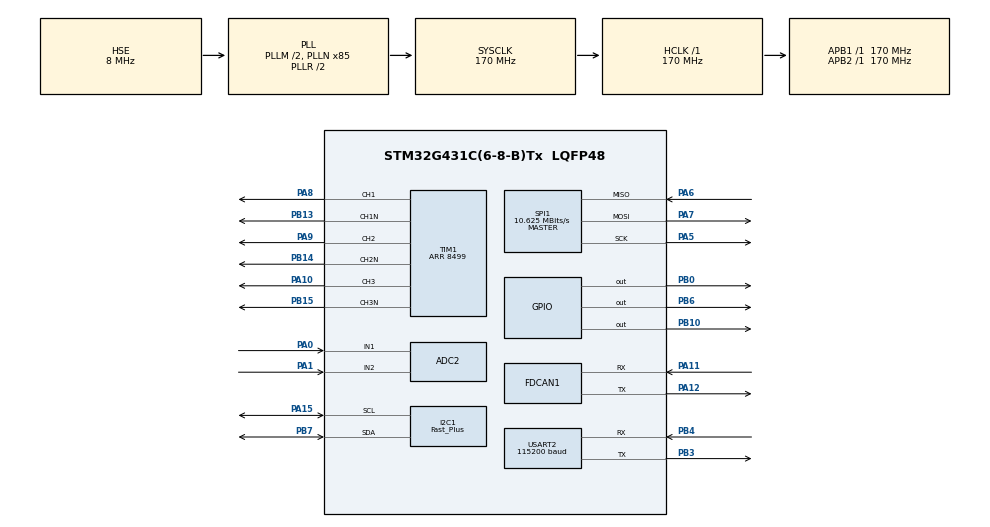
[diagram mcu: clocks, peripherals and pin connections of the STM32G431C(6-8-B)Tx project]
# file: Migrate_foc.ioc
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ADC2.Channel-0\#ChannelRegularConversion=ADC_CHANNEL_1
ADC2.EnableInjectedConversion=ENABLE
ADC2.ExternalTrigInjecConv=ADC_EXTERNALTRIGINJEC_T1_CC4
ADC2.ExternalTrigInjecConvEdge=ADC_EXTERNALTRIGINJECCONV_EDGE_FALLING
ADC2.InjNumberOfConversion=2
ADC2.InjectedChannel-1\#ChannelInjectedConversion=ADC_CHANNEL_1
ADC2.InjectedChannel-2\#ChannelInjectedConversion=ADC_CHANNEL_2
ADC2.InjectedOffsetNumber-1\#ChannelInjectedConversion=ADC_OFFSET_NONE
ADC2.InjectedOffsetNumber-2\#ChannelInjectedConversion=ADC_OFFSET_NONE
ADC2.InjectedRank-1\#ChannelInjectedConversion=1
ADC2.InjectedRank-2\#ChannelInjectedConversion=2
ADC2.InjectedSamplingTime-1\#ChannelInjectedConversion=ADC_SAMPLETIME_12CYCLES_5
ADC2.InjectedSamplingTime-2\#ChannelInjectedConversion=ADC_SAMPLETIME_12CYCLES_5
ADC2.NbrOfConversionFlag=1
ADC2.OffsetNumber-0\#ChannelRegularConversion=ADC_OFFSET_NONE
ADC2.Rank-0\#ChannelRegularConversion=1
ADC2.Rank1_Channel=ADC_CHANNEL_1
ADC2.Rank2_Channel=ADC_CHANNEL_2
ADC2.SamplingTime-0\#ChannelRegularConversion=ADC_SAMPLETIME_2CYCLES_5
Dma.Request0=USART2_RX
Dma.Request1=USART2_TX
Dma.USART2_RX.0.Direction=DMA_PERIPH_TO_MEMORY
Dma.USART2_RX.0.EventEnable=DISABLE
Dma.USART2_RX.0.Instance=DMA1_Channel1
Dma.USART2_RX.0.MemDataAlignment=DMA_MDATAALIGN_BYTE
Dma.USART2_RX.0.MemInc=DMA_MINC_ENABLE
Dma.USART2_RX.0.Mode=DMA_NORMAL
Dma.USART2_RX.0.PeriphDataAlignment=DMA_PDATAALIGN_BYTE
Dma.USART2_RX.0.PeriphInc=DMA_PINC_DISABLE
Dma.USART2_RX.0.Polarity=HAL_DMAMUX_REQ_GEN_RISING
Dma.USART2_RX.0.Priority=DMA_PRIORITY_MEDIUM
Dma.USART2_RX.0.RequestNumber=1
Dma.USART2_RX.0.SignalID=NONE
Dma.USART2_RX.0.SyncEnable=DISABLE
Dma.USART2_RX.0.SyncPolarity=HAL_DMAMUX_SYNC_NO_EVENT
Dma.USART2_RX.0.SyncRequestNumber=1
Dma.USART2_RX.0.SyncSignalID=NONE
Dma.USART2_TX.1.Direction=DMA_MEMORY_TO_PERIPH
Dma.USART2_TX.1.EventEnable=DISABLE
Dma.USART2_TX.1.Instance=DMA1_Channel2
Dma.USART2_TX.1.MemDataAlignment=DMA_MDATAALIGN_BYTE
Dma.USART2_TX.1.MemInc=DMA_MINC_ENABLE
Dma.USART2_TX.1.Mode=DMA_NORMAL
Dma.USART2_TX.1.PeriphDataAlignment=DMA_PDATAALIGN_BYTE
Dma.USART2_TX.1.PeriphInc=DMA_PINC_DISABLE
Dma.USART2_TX.1.Polarity=HAL_DMAMUX_REQ_GEN_RISING
Dma.USART2_TX.1.Priority=DMA_PRIORITY_LOW
Dma.USART2_TX.1.RequestNumber=1
Dma.USART2_TX.1.SignalID=NONE
Dma.USART2_TX.1.SyncEnable=DISABLE
Dma.USART2_TX.1.SyncPolarity=HAL_DMAMUX_SYNC_NO_EVENT
Dma.USART2_TX.1.SyncRequestNumber=1
Dma.USART2_TX.1.SyncSignalID=NONE
FDCAN1.CalculateBaudRateNominal=3541666
FDCAN1.CalculateTimeBitNominal=282
FDCAN1.CalculateTimeQuantumNominal=94.11764705882354
I2C1.I2C_Speed_Mode=I2C_Fast_Plus
I2C1.Timing=0x4052060F
Mcu.Family=STM32G4
Mcu.Name=STM32G431C(6-8-B)Tx
Mcu.Package=LQFP48
NVIC.DMA1_Channel1_IRQn=true\:0\:0\:false\:false\:true\:false\:true\:true
NVIC.DMA1_Channel2_IRQn=true\:0\:0\:false\:false\:true\:false\:true\:true
NVIC.PriorityGroup=NVIC_PRIORITYGROUP_4
NVIC.USART2_IRQn=true\:0\:0\:false\:false\:true\:true\:true\:true
PA0.Mode=IN1-Single-Ended
PA0.Signal=ADC2_IN1
PA1.Mode=IN2-Single-Ended
PA1.Signal=ADC2_IN2
PA10.Signal=S_TIM1_CH3
PA11.Mode=FDCAN_Activate
PA11.Signal=FDCAN1_RX
PA12.Mode=FDCAN_Activate
PA12.Signal=FDCAN1_TX
PA13.Mode=Serial_Wire
PA13.Signal=SYS_JTMS-SWDIO
PA14.Mode=Serial_Wire
PA14.Signal=SYS_JTCK-SWCLK
PA15.Mode=I2C
PA15.Signal=I2C1_SCL
PA5.Mode=Full_Duplex_Master
PA5.Signal=SPI1_SCK
PA6.Mode=Full_Duplex_Master
PA6.Signal=SPI1_MISO
PA7.Mode=Full_Duplex_Master
PA7.Signal=SPI1_MOSI
PA8.Signal=S_TIM1_CH1
PA9.Signal=S_TIM1_CH2
PB0.GPIO_Speed=GPIO_SPEED_FREQ_VERY_HIGH
PB0.PinState=GPIO_PIN_SET
PB0.Signal=GPIO_Output
PB10.GPIO_Speed=GPIO_SPEED_FREQ_VERY_HIGH
PB10.PinState=GPIO_PIN_SET
PB10.Signal=GPIO_Output
PB13.Mode=PWM Generation1 CH1 CH1N
PB13.Signal=TIM1_CH1N
PB14.Mode=PWM Generation2 CH2 CH2N
PB14.Signal=TIM1_CH2N
PB15.Mode=PWM Generation3 CH3 CH3N
PB15.Signal=TIM1_CH3N
PB3.Mode=Asynchronous
PB3.Signal=USART2_TX
PB4.Mode=Asynchronous
PB4.Signal=USART2_RX
PB6.GPIO_Speed=GPIO_SPEED_FREQ_VERY_HIGH
PB6.PinState=GPIO_PIN_SET
PB6.Signal=GPIO_Output
PB7.Mode=I2C
PB7.Signal=I2C1_SDA
PF0-OSC_IN.Mode=HSE-External-Oscillator
PF0-OSC_IN.Signal=RCC_OSC_IN
PF1-OSC_OUT.Mode=HSE-External-Oscillator
PF1-OSC_OUT.Signal=RCC_OSC_OUT
ProjectManager.HeapSize=0x200
ProjectManager.StackSize=0x400
ProjectManager.TargetToolchain=MDK-ARM V5.32
RCC.ADC12Freq_Value=170000000
RCC.AHBFreq_Value=170000000
RCC.APB1Freq_Value=170000000
RCC.APB1TimFreq_Value=170000000
RCC.APB2Freq_Value=170000000
RCC.APB2TimFreq_Value=170000000
RCC.CortexFreq_Value=170000000
RCC.EXTERNAL_CLOCK_VALUE=12288000
RCC.HCLKFreq_Value=170000000
RCC.HSE_VALUE=8000000
RCC.HSI48_VALUE=48000000
RCC.HSI_VALUE=16000000
RCC.LSE_VALUE=32768
RCC.PLLM=RCC_PLLM_DIV2
RCC.PLLN=85
RCC.PLLSourceVirtual=RCC_PLLSOURCE_HSE
RCC.SYSCLKFreq_VALUE=170000000
RCC.SYSCLKSource=RCC_SYSCLKSOURCE_PLLCLK
RCC.USBFreq_Value=170000000
RCC.VCOOutputFreq_Value=340000000
SH.S_TIM1_CH1.0=TIM1_CH1,PWM Generation1 CH1 CH1N
SH.S_TIM1_CH2.0=TIM1_CH2,PWM Generation2 CH2 CH2N
SH.S_TIM1_CH3.0=TIM1_CH3,PWM Generation3 CH3 CH3N
SPI1.BaudRatePrescaler=SPI_BAUDRATEPRESCALER_16
SPI1.CLKPhase=SPI_PHASE_2EDGE
SPI1.CalculateBaudRate=10.625 MBits/s
SPI1.DataSize=SPI_DATASIZE_16BIT
SPI1.Direction=SPI_DIRECTION_2LINES
SPI1.Mode=SPI_MODE_MASTER
SPI1.VirtualType=VM_MASTER
TIM1.AutomaticOutput=TIM_AUTOMATICOUTPUT_ENABLE
TIM1.Channel-PWM\ Generation1\ CH1\ CH1N=TIM_CHANNEL_1
TIM1.Channel-PWM\ Generation2\ CH2\ CH2N=TIM_CHANNEL_2
TIM1.Channel-PWM\ Generation3\ CH3\ CH3N=TIM_CHANNEL_3
TIM1.Channel-PWM\ Generation4\ No\ Output=TIM_CHANNEL_4
TIM1.CounterMode=TIM_COUNTERMODE_CENTERALIGNED1
TIM1.DeadTime=255
TIM1.DeadTimePreload=ENABLE
TIM1.PeriodNoDither=8499
TIM1.PulseNoDither_4=8449
TIM2.Prescaler=169
USART2.BaudRate=115200
USART2.Parity=PARITY_NONE
USART2.VirtualMode-Asynchronous=VM_ASYNC
VP_CORDIC_VS_CORDIC.Mode=CORDIC_Activate
VP_FMAC_VS_FMAC.Mode=FMAC_Activate
VP_SYS_VS_DBSignals.Mode=DisableDeadBatterySignals
VP_TIM1_VS_no_output4.Mode=PWM Generation4 No Output
VP_TIM2_VS_ClockSourceINT.Mode=Internal
board=custom

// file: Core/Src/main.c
/* USER CODE BEGIN Header */
/**
 ******************************************************************************
 * @file           : main.c
 * @brief          : Main program body
 ******************************************************************************
 * @attention
 *
 * Copyright (c) 2025 STMicroelectronics.
 * All rights reserved.
 *
 * This software is licensed under terms that can be found in the LICENSE file
 * in the root directory of this software component.
 * If no LICENSE file comes with this software, it is provided AS-IS.
 *
 ******************************************************************************
 */
/* USER CODE END Header */
#include "main.h"
#include "adc.h"
#include "cordic.h"
#include "dma.h"
#include "fdcan.h"
#include "fmac.h"
#include "i2c.h"
#include "spi.h"
#include "tim.h"
#include "usart.h"
#include "gpio.h"

/* USER CODE BEGIN Includes */
#include "FOC.h"
#include <stdlib.h>
#include "string.h"
#include "electricity.h"
#include "AS5600.h"
#include "User_define.h"
#include "DWT.h"
#include "string.h"
#include "AS5047P.h"
/* USER CODE END Includes */

/* USER CODE BEGIN PV */

uint8_t uart_rx_dma_buffer[FLOAT_BUF_SIZE] = {0};
uint8_t uart_dma_buffer[FLOAT_BUF_SIZE] = {0};

float time, last_time;
float serial_targrt = 0.0f;
float serial_send_time = 0, serial_send_time_prev = 0;

volatile float adc_value[3] = {0, 0, 0};
float current_I;
FOC_TxPacket send_data = {
    .foc_current = 0,
    .rx_target = 0,
    .adc_value1 = 0,
    .adc_value2 = 0,
    .now_angle = 0,
    .pass_time = 0,
    .tail = {0x00, 0x00, 0x80, 0x7f}};
/* USER CODE END PV */

void SystemClock_Config(void);
/* USER CODE BEGIN PFP */
void if_serial_receive_data(void);
/* USER CODE END PFP */

int main(void)
{

  /* MCU Configuration--------------------------------------------------------*/

  /* Reset of all peripherals, Initializes the Flash interface and the Systick. */
  HAL_Init();

  /* Configure the system clock */
  SystemClock_Config();

  /* Initialize all configured peripherals */
  MX_GPIO_Init();
  MX_DMA_Init();
  MX_CORDIC_Init();
  MX_FDCAN1_Init();
  MX_FMAC_Init();
  MX_I2C1_Init();
  MX_TIM1_Init();
  MX_TIM2_Init();
  MX_USART2_UART_Init();
  MX_ADC2_Init();
  MX_SPI1_Init();
  /* USER CODE BEGIN 2 */
  HAL_ADCEx_Calibration_Start(&hadc2, ADC_SINGLE_ENDED);
  HAL_ADCEx_InjectedStart(&hadc2);
  HAL_TIM_Base_Start(&htim2);
  HAL_TIM_PWM_Start(&htim1, TIM_CHANNEL_1);
  HAL_TIMEx_PWMN_Start(&htim1, TIM_CHANNEL_1);
  HAL_TIM_PWM_Start(&htim1, TIM_CHANNEL_2);
  HAL_TIMEx_PWMN_Start(&htim1, TIM_CHANNEL_2);
  HAL_TIM_PWM_Start(&htim1, TIM_CHANNEL_3);
  HAL_TIMEx_PWMN_Start(&htim1, TIM_CHANNEL_3);
  HAL_TIM_PWM_Start(&htim1, TIM_CHANNEL_4); // 先把通道四先打开，才能触发ADC采样，ADC才能采到正确的初始值
  Enable_DWT_CycleCounter();
  calculate_variety();
  electricity_init();
  setMotor(motor_Pn, motor_DIR);
  SPI_AS5047P_Init(&hspi1, GPIOB, GPIO_PIN_10); // AS5047P的CS引脚初始为高电平
  /* USER CODE END 2 */

  /* Infinite loop */
  while (1)
  {

    /* USER CODE BEGIN 3 */
    if_serial_receive_data();
    last_time = DWT->CYCCNT;
    FOC_setCurrent(serial_targrt);
    time = DWT->CYCCNT - last_time;
    serial_send_time = micros();
    if (serial_send_time - serial_send_time_prev >= 500)
    {
      FOC_TxPacket send_data = {
          .foc_current = current_I,
          .rx_target = serial_targrt,
          .adc_value1 = hadc2.Instance->JDR1,
          .adc_value2 = hadc2.Instance->JDR2,
          .now_angle = angle,
          .pass_time = 0,
          .tail = {0x00, 0x00, 0x80, 0x7f}};
      HAL_UART_Transmit_DMA(&huart2, (uint8_t *)&send_data, sizeof(FOC_TxPacket));
      serial_send_time_prev = serial_send_time;
    }
  }
}
  /* USER CODE END 3 */

void SystemClock_Config(void)
{
  RCC_OscInitTypeDef RCC_OscInitStruct = {0};
  RCC_ClkInitTypeDef RCC_ClkInitStruct = {0};

  /** Configure the main internal regulator output voltage
  */
  HAL_PWREx_ControlVoltageScaling(PWR_REGULATOR_VOLTAGE_SCALE1_BOOST);

  /** Initializes the RCC Oscillators according to the specified parameters
  * in the RCC_OscInitTypeDef structure.
  */
  RCC_OscInitStruct.OscillatorType = RCC_OSCILLATORTYPE_HSE;
  RCC_OscInitStruct.HSEState = RCC_HSE_ON;
  RCC_OscInitStruct.PLL.PLLState = RCC_PLL_ON;
  RCC_OscInitStruct.PLL.PLLSource = RCC_PLLSOURCE_HSE;
  RCC_OscInitStruct.PLL.PLLM = RCC_PLLM_DIV2;
  RCC_OscInitStruct.PLL.PLLN = 85;
  RCC_OscInitStruct.PLL.PLLP = RCC_PLLP_DIV2;
  RCC_OscInitStruct.PLL.PLLQ = RCC_PLLQ_DIV2;
  RCC_OscInitStruct.PLL.PLLR = RCC_PLLR_DIV2;
  if (HAL_RCC_OscConfig(&RCC_OscInitStruct) != HAL_OK)
  {
    Error_Handler();
  }

  /** Initializes the CPU, AHB and APB buses clocks
  */
  RCC_ClkInitStruct.ClockType = RCC_CLOCKTYPE_HCLK|RCC_CLOCKTYPE_SYSCLK
                              |RCC_CLOCKTYPE_PCLK1|RCC_CLOCKTYPE_PCLK2;
  RCC_ClkInitStruct.SYSCLKSource = RCC_SYSCLKSOURCE_PLLCLK;
  RCC_ClkInitStruct.AHBCLKDivider = RCC_SYSCLK_DIV1;
  RCC_ClkInitStruct.APB1CLKDivider = RCC_HCLK_DIV1;
  RCC_ClkInitStruct.APB2CLKDivider = RCC_HCLK_DIV1;

  if (HAL_RCC_ClockConfig(&RCC_ClkInitStruct, FLASH_LATENCY_4) != HAL_OK)
  {
    Error_Handler();
  }
}

/* USER CODE BEGIN 4 */
uint32_t micros(void)
{
  return __HAL_TIM_GetCounter(&htim2);
}

// 该函数用于解析字符型数据
float fast_atof(const uint8_t *buffer, uint16_t len)
{
  // 单次遍历算法（无状态机）
  int integer = 0;
  int fraction = 0;
  int fraction_digits = 0;
  int is_negative = 0;
  int has_decimal = 0;

  // 使用寄存器变量加速
  register uint8_t *ptr = (uint8_t *)buffer;
  register uint16_t count = len;

  // 单次遍历处理所有字符
  while (count--)
  {
    register uint8_t c = *ptr++;

    if (c == '-')
      is_negative = 1;
    else if (c == '.')
      has_decimal = 1;
    else if (c >= '0' && c <= '9')
    {
      if (has_decimal)
      {
        fraction = fraction * 10 + (c - '0');
        fraction_digits++;
      }
      else
      {
        integer = integer * 10 + (c - '0');
      }
    }
  }

  // 预计算除法因子（避免循环内浮点除法）
  const float fraction_multipliers[7] = {
      0.0, 0.1, 0.01, 0.001, 0.0001, 0.00001, 0.000001};
  float multiplier = (fraction_digits > 6) ? fraction_multipliers[6] : fraction_multipliers[fraction_digits];

  // 3. 整数转浮点的汇编优化
  float result = (float)integer + (float)fraction * multiplier;
  return is_negative ? -result : result;
}
void if_serial_receive_data(void)
{
  if (rx_complete)
  {

    uint16_t len = rx_length;
    rx_complete = 0;

    // 解析数据
    serial_targrt = fast_atof((uint8_t *)uart_dma_buffer, len);
    // 1.5us结束解析
  }
}
/* USER CODE END 4 */

void Error_Handler(void)
{
  __disable_irq();
  while (1)
  {
  }
}
